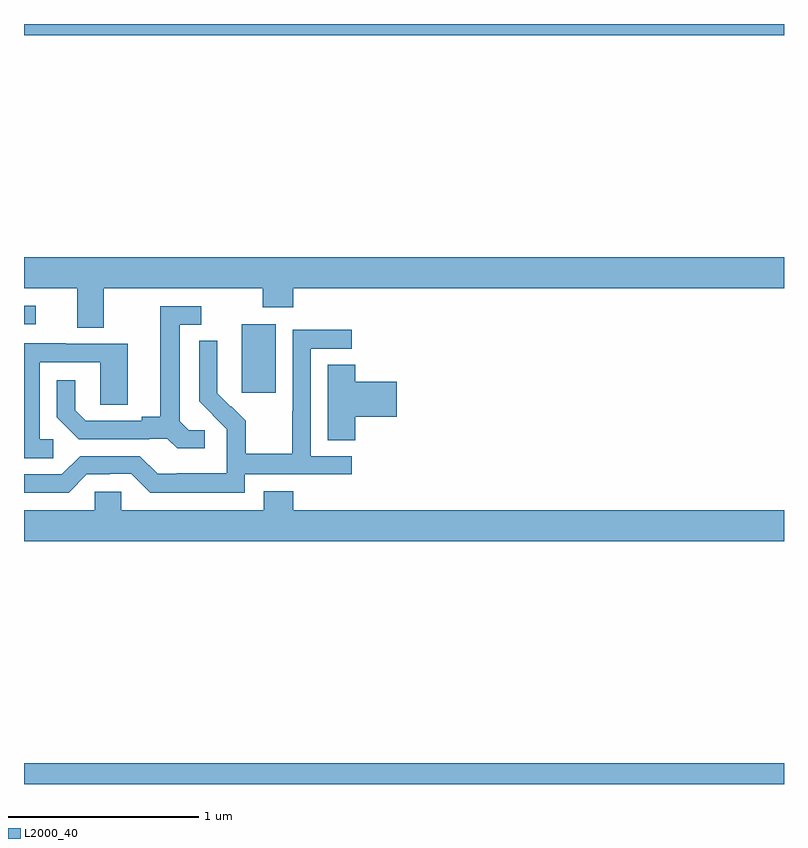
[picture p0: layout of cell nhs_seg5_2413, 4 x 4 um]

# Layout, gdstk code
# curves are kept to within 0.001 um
import gdstk
lib = gdstk.Library(unit=1e-6, precision=1e-09)
def R(c, l, rs):  # rectangles x0, y0, x1, y1
    for r in rs: c.add(gdstk.rectangle(r[:2], r[2:], *l))
def P(c, l, *ps):  # polygons
    for p in ps: c.add(gdstk.Polygon(p, *l))
L2000_40 = (2000, 40)

nhs_seg5_2413 = lib.new_cell('nhs_seg5_2413')
R(nhs_seg5_2413, L2000_40, [(251,872.799,255,872.908), (252.146,874.857,252.325,875.218), (251,875.22,251.062,875.316), (251,876.74,255,876.799)])
P(nhs_seg5_2413, L2000_40, [(251.419,875.408),(252.256,875.408),(252.256,875.309),(252.416,875.309),(252.416,875.408),(255,875.408),(255,875.572),(251,875.572),(251,875.408),(251.279,875.408),(251.279,875.2),(251.419,875.2)],
  [(251.95,874.662),(251.868,874.662),(251.821,874.709),(251.821,875.217),(251.932,875.217),(251.932,875.313),(251.717,875.313),(251.717,874.733),(251.621,874.733),(251.621,874.71),(251.326,874.71),(251.269,874.767),(251.269,874.924),(251.172,874.924),(251.172,874.73),(251.288,874.614),(251.66,874.614),(251.66,874.617),(251.754,874.617),(251.806,874.565),(251.95,874.565)],
  [(252.162,874.428),(252.724,874.428),(252.724,874.524),(252.51,874.524),(252.51,875.091),(252.724,875.091),(252.724,875.19),(252.414,875.19),(252.414,874.76),(252.412,874.76),(252.412,874.537),(252.167,874.537),(252.167,874.711),(252.09,874.788),(252.087,874.785),(252.017,874.856),(252.018,875.132),(251.922,875.132),(251.922,874.814),(252.068,874.666),(252.068,874.569),(252.066,874.569),(252.066,874.435),(251.803,874.435),(251.803,874.431),(251.703,874.431),(251.61,874.524),(251.295,874.524),(251.199,874.428),(251,874.428),(251,874.332),(251.235,874.332),(251.331,874.428),(251.45,874.428),(251.45,874.431),(251.565,874.431),(251.665,874.331),(252.162,874.331)],
  [(251.155,874.614),(251.082,874.614),(251.082,875.019),(251.4,875.019),(251.4,874.795),(251.545,874.795),(251.545,875.115),(251.221,875.115),(251.221,875.119),(251,875.119),(251,874.513),(251.155,874.513)],
  [(252.743,874.733),(252.961,874.733),(252.961,874.916),(252.743,874.916),(252.743,875.006),(252.599,875.006),(252.599,874.609),(252.743,874.609)],
  [(255,874.24),(252.416,874.24),(252.416,874.339),(252.263,874.339),(252.263,874.24),(251.511,874.24),(251.511,874.338),(251.373,874.338),(251.373,874.24),(251,874.24),(251,874.076),(255,874.076)])

lib.write_gds('nhs_seg5_2413.gds')
